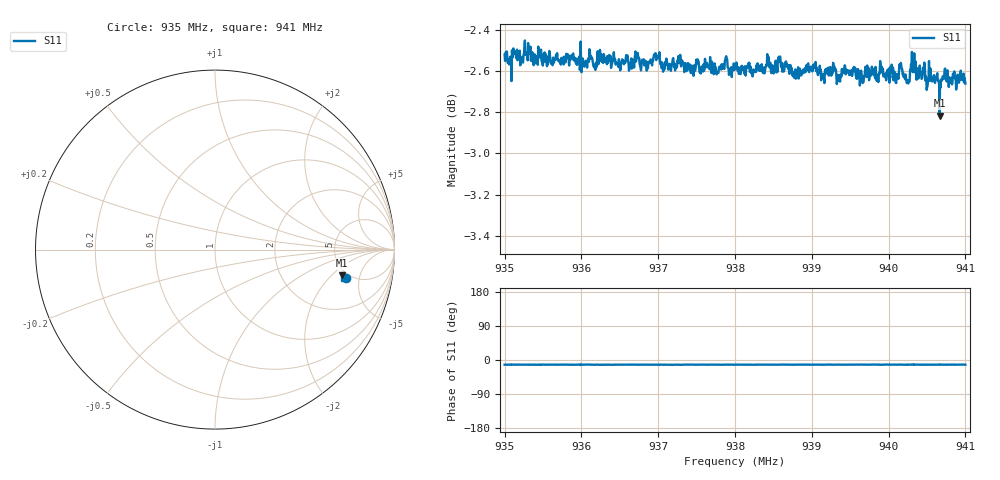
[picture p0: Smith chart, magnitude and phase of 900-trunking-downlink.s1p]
! Calibrated averaged scanner-service zoom
# Hz S RI R 50
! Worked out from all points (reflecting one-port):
!   1001 points, 935 MHz to 941 MHz, reference 50 ohm
!   lowest |S11| = -2.8 dB at 940.664 MHz (marker M1), VSWR 6.22, Z = 226 - j136 ohm
!   phase of S11 starts at -12 deg and turns -0 deg over the sweep
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9.35e8  0.7308 -0.1603
9.35108e8  0.732 -0.1585
9.35426e8  0.7304 -0.1594
9.3575e8  0.7289 -0.1577
9.35876e8  0.7292 -0.1619
9.36026e8  0.7276 -0.1568
9.36254e8  0.728 -0.1617
9.365e8  0.7276 -0.1585
9.36974e8  0.7291 -0.1573
9.37058e8  0.7267 -0.1579
9.3725e8  0.7282 -0.1597
9.3758e8  0.7264 -0.158
9.38e8  0.7271 -0.158
9.3836e8  0.7236 -0.1587
9.38588e8  0.7304 -0.1581
9.3863e8  0.7251 -0.1565
9.3875e8  0.7219 -0.1602
9.3902e8  0.7261 -0.1578
9.3914e8  0.7229 -0.159
9.395e8  0.7227 -0.1588
9.40094e8  0.7193 -0.1579
9.40166e8  0.7271 -0.1544
9.4025e8  0.7196 -0.1611
9.40322e8  0.7315 -0.1464
9.40436e8  0.7209 -0.1594
9.40664e8  0.7085 -0.1443
9.40736e8  0.7252 -0.1588
9.41e8  0.7188 -0.1589
